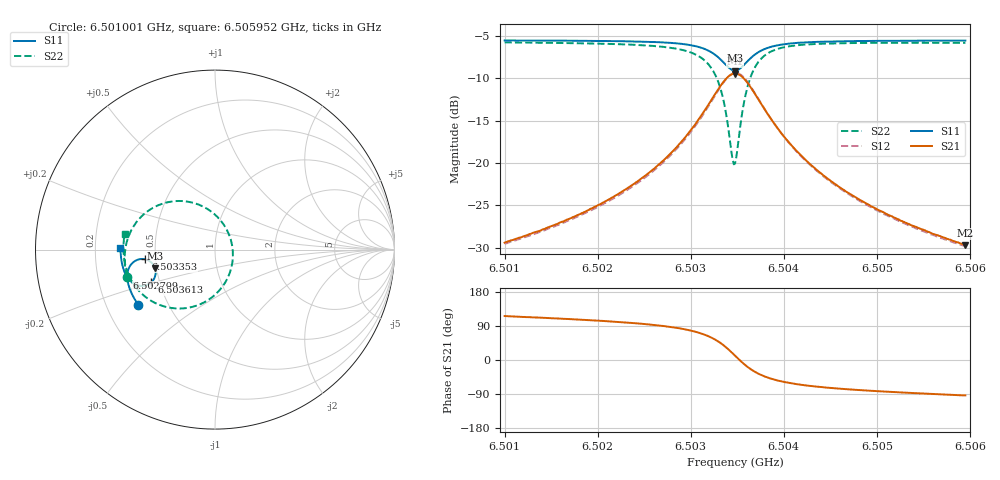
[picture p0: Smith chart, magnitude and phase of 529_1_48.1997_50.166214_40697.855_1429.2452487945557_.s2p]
#  HZ  S  RI  R  50.00
! Rohde & Schwarz Vector Network Analyzer
! Rohde-Schwarz,ZNB20-2Port,1311601062101988,3.16
! Created: UTC 3/20/2024, 11:59:47 AM
! freq[Hz]  re:S11  im:S11  re:S21  im:S21  re:S12  im:S12  re:S22  im:S22
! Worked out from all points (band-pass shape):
!   401 points, 6.501001 GHz to 6.505952 GHz, reference 50 ohm
!   highest |S21| = -9.46 dB at 6.503476 GHz (marker M1); lowest = -29.7 dB at 6.505952 GHz (marker M2)
!   |S21| within 3 dB of the highest: 6.50323 GHz to 6.503725 GHz (495 kHz wide, 0.00761 % of centre)
!   lowest |S11| = -9.1 dB at 6.503476 GHz (marker M3), VSWR 2.08, Z = 24.5 - j5.85 ohm
!   |S11| at or under -10 dB: nowhere
!   |S22| runs from -20.2 to -5.8 dB; largest |S21 - S12| = 0.011
!   S11 on the Smith chart (normalised r, x): 6.501001 GHz: 0.34, -0.29; 6.502709 GHz: 0.33, -0.14; 6.503353 GHz: 0.44, -0.06; 6.503613 GHz: 0.45, -0.19; 6.505952 GHz: 0.31, +0.01
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6.5010011e9  -0.4283 -0.3072  -0.0149 0.0305  -0.0132 0.0307  -0.4908 -0.1509
6.5018304e9  -0.4638 -0.2455  -0.0142 0.0486  -0.0118 0.0482  -0.5033 -0.0622
6.5022759e9  -0.4793 -0.2058  -0.0111 0.0676  -0.0083 0.0666  -0.5001 0.00159
6.5026596e9  -0.4883 -0.163  -0.00173 0.0982  0.00167 0.0958  -0.4796 0.0791
6.5027091e9  -0.4888 -0.1564  0.00064 0.1037  0.0042 0.1013  -0.4743 0.0918
6.5029442e9  -0.4856 -0.1194  0.0229 0.1404  0.0266 0.1363  -0.4272 0.1658
6.5031051e9  -0.4712 -0.0874  0.062 0.1764  0.0647 0.1708  -0.3517 0.2292
6.5032536e9  -0.4338 -0.0575  0.1429 0.2053  0.1435 0.1993  -0.2044 0.2708
6.5033527e9  -0.3876 -0.0543  0.2337 0.1894  0.2337 0.185  -0.0472 0.2293
6.5034393e9  -0.3449 -0.0828  0.312 0.1157  0.3145 0.1119  0.0778 0.0844
6.503464e9  -0.3369 -0.0969  0.3255 0.0841  0.3287 0.0797  0.095 0.025
6.5034764e9  -0.334 -0.1047  0.3299 0.0672  0.3336 0.0625  0.0991 -0.00608
6.5035012e9  -0.3308 -0.1208  0.3336 0.0329  0.3376 0.0267  0.0972 -0.0693
6.5035383e9  -0.3328 -0.1448  0.3266 -0.0171  0.3303 -0.0254  0.0708 -0.1579
6.5036126e9  -0.3547 -0.1818  0.2805 -0.0935  0.2809 -0.1045  -0.0381 -0.2811
6.5037239e9  -0.4002 -0.202  0.194 -0.139  0.1892 -0.1485  -0.2133 -0.3282
6.5038848e9  -0.4474 -0.1926  0.1103 -0.1354  0.1036 -0.1405  -0.3638 -0.2803
6.5040581e9  -0.4752 -0.1711  0.0649 -0.1146  0.0588 -0.117  -0.4373 -0.2139
6.5043056e9  -0.4962 -0.1413  0.0345 -0.0896  0.0298 -0.0902  -0.4814 -0.1408
6.5046646e9  -0.5116 -0.1033  0.0155 -0.0664  0.0123 -0.0661  -0.5036 -0.0673
6.5051349e9  -0.5212 -0.0594  0.00523 -0.0489  0.00292 -0.0483  -0.5104 0.000523
6.5059517e9  -0.5265 0.01  -0.00193 -0.0328  -0.00324 -0.0322  -0.5029 0.0877
